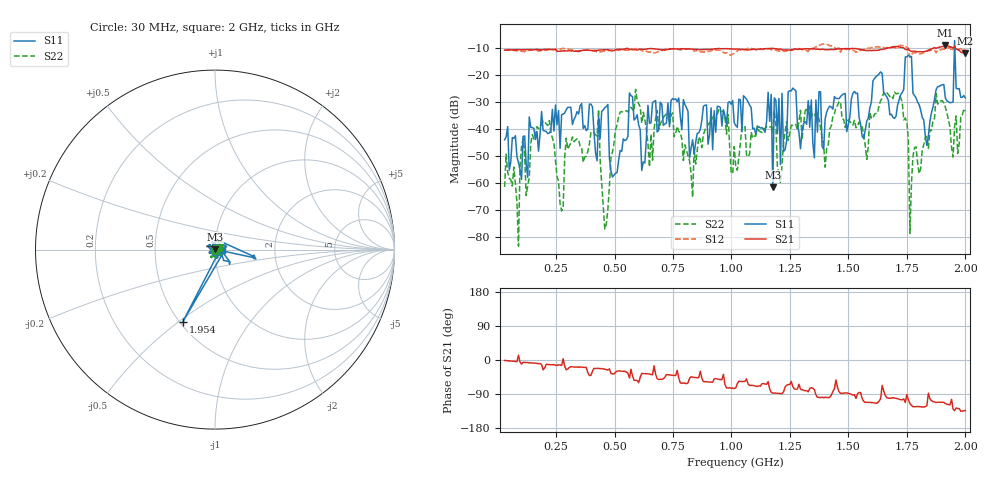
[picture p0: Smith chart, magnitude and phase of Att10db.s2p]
# Hz S DB R 50.000000
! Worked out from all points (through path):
!   300 points, 30 MHz to 2 GHz, reference 50 ohm
!   highest |S21| = -8.98 dB at 1.914 GHz (marker M1); lowest = -11.9 dB at 2 GHz (marker M2)
!   lowest |S11| = -61.6 dB at 1.176 GHz (marker M3), VSWR 1.00, Z = 50 + j0.0813 ohm
!   |S11| at or under -10 dB: start of sweep to 1.953 GHz; 1.955 GHz to end of sweep
!   |S22| runs from -83.4 to -25.3 dB; largest |S21 - S12| = 0.43
!   S11 on the Smith chart (normalised r, x): 30 MHz: 1.00, -0.01; 1.954 GHz: 0.52, -0.52; 2 GHz: 1.08, -0.00
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3e7  -43.96 -91.2  -10.73 -1.3  -10.62 -0.9  -61.46 -134.6
8.929766e7  -52.37 -171.6  -10.56 12.8  -11.05 -7.2  -83.41 -107.7
1.090635e8  -42.77 -49.5  -10.62 -6.1  -11.21 -6.2  -43.67 -78.3
3.594314e8  -30.56 62.4  -10.91 -18.6  -10.85 -20.7  -46.79 38.7
4.319064e8  -35.31 71.5  -10.75 -22.2  -11.40 -28.0  -32.78 149.5
4.582609e8  -32.09 91.5  -10.62 -24.2  -11.03 -47.1  -77.05 168.3
5.241472e8  -47.94 -146.4  -10.40 -29.1  -10.78 -39.9  -33.69 96.5
6.888629e8  -40.42 128.6  -10.46 -51.3  -11.17 -39.0  -39.93 -19.8
1.018294e9  -38.73 -53.3  -10.40 -73.8  -11.58 -57.2  -54.15 -106.1
1.169833e9  -27.12 138.6  -10.07 -85.6  -10.60 -91.5  -39.04 -129.5
1.176421e9  -61.63 101.2  -10.07 -87.4  -10.54 -79.0  -41.17 -116.9
1.18301e9  -28.46 149.4  -10.16 -87.1  -10.66 -79.1  -33.05 -28.4
1.209365e9  -53.17 -118.5  -10.29 -88.4  -11.02 -78.7  -59.79 74.9
1.215953e9  -26.77 154.2  -10.64 -88.8  -11.13 -78.7  -53.38 162.5
1.347726e9  -45.11 -69.1  -10.21 -74.8  -10.12 -75.2  -35.35 -68.9
1.677157e9  -34.71 -78.6  -9.90 -101.1  -9.85 -108.4  -27.94 -71.6
1.749632e9  -13.23 -7.9  -10.59 -91.2  -9.68 -122.9  -37.42 -128.9
1.762809e9  -13.11 -12.9  -10.93 -114.8  -13.43 -130.2  -78.67 28.1
1.782575e9  -27.59 -15.9  -11.12 -123.6  -11.64 -124.7  -46.89 -3.6
1.914348e9  -28.50 15.5  -8.98 -115.2  -10.20 -119.1  -31.88 -60.2
1.95388e9  -7.15 -114.0  -9.30 -133.8  -10.56 -128.6  -38.82 0.5
2e9  -28.50 -2.8  -11.92 -133.4  -10.85 -86.0  -33.44 23.3
